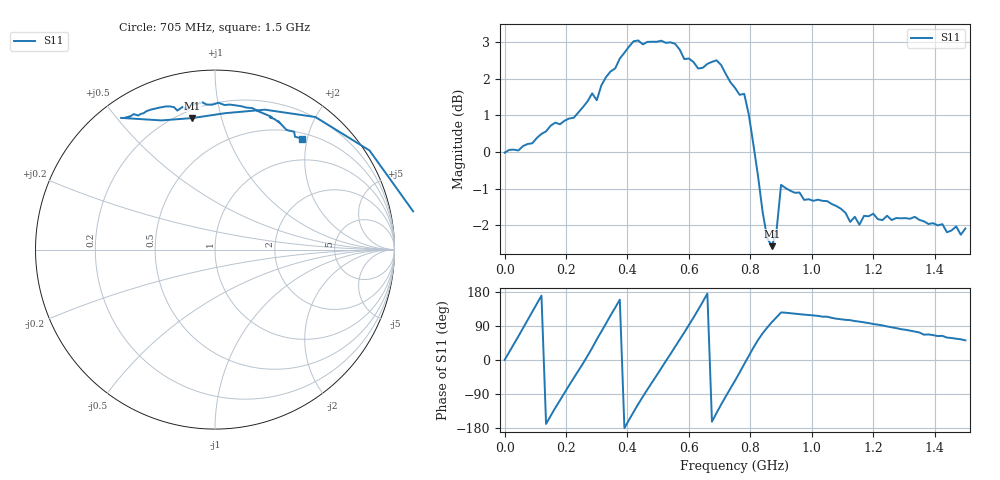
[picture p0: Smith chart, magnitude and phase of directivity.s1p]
! Created with skrf 1.8.0 (http://scikit-rf.org).
# Hz S RI R 50.0
!freq ReS11 ImS11
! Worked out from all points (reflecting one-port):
!   101 points, 50 kHz to 1.5 GHz, reference 50 ohm
!   lowest |S11| = -2.6 dB at 870 MHz (marker M1), VSWR 6.80, Z = 12.4 + j40.6 ohm
!   phase of S11 starts at 0 deg and turns +1132 deg over the sweep
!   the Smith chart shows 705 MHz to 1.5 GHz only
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50000  0.9978 0.00154
6.0048e7  0.1032 1.014
9.0047e7  -0.6195 0.8199
1.20046e8  -1.042 0.1848
1.50045e8  -0.9146 -0.5861
1.950435e8  0.0646 -1.101
2.40042e8  0.995 -0.5399
2.70041e8  1.151 0.2228
3.0004e8  0.6855 0.9563
3.30039e8  -0.1378 1.258
3.750375e8  -1.253 0.478
4.20036e8  -1.035 -0.967
4.650345e8  0.3034 -1.381
4.950335e8  1.074 -0.9195
5.250325e8  1.408 -0.0638
5.70031e8  0.8149 1.113
6.150295e8  -0.501 1.229
6.60028e8  -1.315 0.1087
7.050265e8  -0.6052 -1.167
7.50025e8  0.7086 -0.9973
7.950235e8  1.104 0.2135
8.250225e8  0.5597 0.7386
8.70021e8  -0.1265 0.7327
9.0002e8  -0.5241 0.7338
9.450185e8  -0.4685 0.7443
1.125012e9  -0.2098 0.7745
1.320006e9  0.1754 0.7912
1.5e9  0.4855 0.6184
